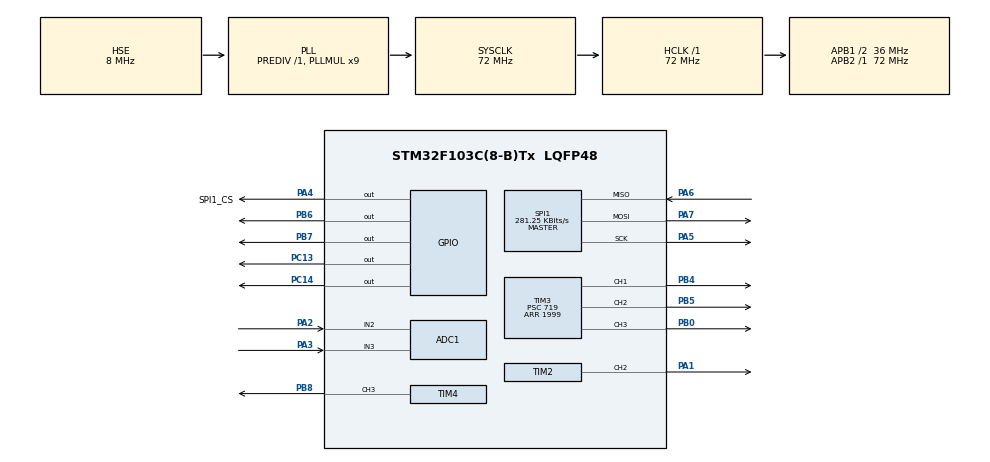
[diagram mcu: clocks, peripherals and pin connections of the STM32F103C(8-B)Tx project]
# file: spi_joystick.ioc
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ADC1.Channel-3\#ChannelRegularConversion=ADC_CHANNEL_2
ADC1.Channel-4\#ChannelRegularConversion=ADC_CHANNEL_3
ADC1.ContinuousConvMode=ENABLE
ADC1.NbrOfConversion=2
ADC1.NbrOfConversionFlag=1
ADC1.Rank-3\#ChannelRegularConversion=1
ADC1.Rank-4\#ChannelRegularConversion=2
ADC1.SamplingTime-3\#ChannelRegularConversion=ADC_SAMPLETIME_239CYCLES_5
ADC1.SamplingTime-4\#ChannelRegularConversion=ADC_SAMPLETIME_239CYCLES_5
ADC1.master=1
Dma.ADC1.2.Direction=DMA_PERIPH_TO_MEMORY
Dma.ADC1.2.Instance=DMA1_Channel1
Dma.ADC1.2.MemDataAlignment=DMA_MDATAALIGN_HALFWORD
Dma.ADC1.2.MemInc=DMA_MINC_ENABLE
Dma.ADC1.2.Mode=DMA_CIRCULAR
Dma.ADC1.2.PeriphDataAlignment=DMA_PDATAALIGN_HALFWORD
Dma.ADC1.2.PeriphInc=DMA_PINC_DISABLE
Dma.ADC1.2.Priority=DMA_PRIORITY_LOW
Dma.Request0=SPI1_RX
Dma.Request1=SPI1_TX
Dma.Request2=ADC1
Dma.SPI1_RX.0.Direction=DMA_PERIPH_TO_MEMORY
Dma.SPI1_RX.0.Instance=DMA1_Channel2
Dma.SPI1_RX.0.MemDataAlignment=DMA_MDATAALIGN_BYTE
Dma.SPI1_RX.0.MemInc=DMA_MINC_ENABLE
Dma.SPI1_RX.0.Mode=DMA_NORMAL
Dma.SPI1_RX.0.PeriphDataAlignment=DMA_PDATAALIGN_BYTE
Dma.SPI1_RX.0.PeriphInc=DMA_PINC_DISABLE
Dma.SPI1_RX.0.Priority=DMA_PRIORITY_LOW
Dma.SPI1_TX.1.Direction=DMA_MEMORY_TO_PERIPH
Dma.SPI1_TX.1.Instance=DMA1_Channel3
Dma.SPI1_TX.1.MemDataAlignment=DMA_MDATAALIGN_BYTE
Dma.SPI1_TX.1.MemInc=DMA_MINC_ENABLE
Dma.SPI1_TX.1.Mode=DMA_NORMAL
Dma.SPI1_TX.1.PeriphDataAlignment=DMA_PDATAALIGN_BYTE
Dma.SPI1_TX.1.PeriphInc=DMA_PINC_DISABLE
Dma.SPI1_TX.1.Priority=DMA_PRIORITY_LOW
FREERTOS.Queues01=myQueue01,16,uint16_t,0,Dynamic,NULL,NULL;myQueue02,16,uint16_t,0,Dynamic,NULL,NULL
FREERTOS.Tasks01=defaultTask,24,256,StartDefaultTask,Default,NULL,Dynamic,NULL,NULL;myTask02,8,128,StartTask02,Default,NULL,Dynamic,NULL,NULL;myTask03,8,128,StartTask03,Default,NULL,Dynamic,NULL,NULL
FREERTOS.Timers01=myTimer01,Callback01,osTimerPeriodic,Default,NULL,Dynamic,NULL
FREERTOS.configTOTAL_HEAP_SIZE=13600
Mcu.Family=STM32F1
Mcu.Name=STM32F103C(8-B)Tx
Mcu.Package=LQFP48
NVIC.DMA1_Channel1_IRQn=true\:0\:0\:false\:false\:true\:true\:false\:true
NVIC.DMA1_Channel2_IRQn=true\:5\:0\:false\:false\:true\:true\:false\:true
NVIC.DMA1_Channel3_IRQn=true\:5\:0\:false\:false\:true\:true\:false\:true
NVIC.PriorityGroup=NVIC_PRIORITYGROUP_4
NVIC.SPI1_IRQn=true\:5\:0\:false\:false\:true\:false\:true\:true
NVIC.TIM1_UP_IRQn=true\:0\:0\:false\:false\:true\:false\:false\:true
NVIC.TimeBase=TIM1_UP_IRQn
NVIC.TimeBaseIP=TIM1
PA1.GPIO_ModeDefaultPP=GPIO_MODE_AF_OD
PA1.Signal=S_TIM2_CH2
PA13.Mode=Serial_Wire
PA13.Signal=SYS_JTMS-SWDIO
PA14.Mode=Serial_Wire
PA14.Signal=SYS_JTCK-SWCLK
PA2.Signal=ADCx_IN2
PA3.Signal=ADCx_IN3
PA4.GPIO_Label=SPI1_CS
PA4.Signal=GPIO_Output
PA5.Mode=Full_Duplex_Master
PA5.Signal=SPI1_SCK
PA6.Mode=Full_Duplex_Master
PA6.Signal=SPI1_MISO
PA7.Mode=Full_Duplex_Master
PA7.Signal=SPI1_MOSI
PB0.Signal=S_TIM3_CH3
PB4.Signal=S_TIM3_CH1
PB5.Signal=S_TIM3_CH2
PB6.Signal=GPIO_Output
PB7.Signal=GPIO_Output
PB8.GPIO_ModeDefaultPP=GPIO_MODE_AF_OD
PB8.Signal=S_TIM4_CH3
PC13-TAMPER-RTC.GPIO_ModeDefaultOutputPP=GPIO_MODE_OUTPUT_OD
PC13-TAMPER-RTC.Signal=GPIO_Output
PC14-OSC32_IN.GPIO_ModeDefaultOutputPP=GPIO_MODE_OUTPUT_OD
PC14-OSC32_IN.Signal=GPIO_Output
PD0-OSC_IN.Mode=HSE-External-Oscillator
PD0-OSC_IN.Signal=RCC_OSC_IN
PD1-OSC_OUT.Mode=HSE-External-Oscillator
PD1-OSC_OUT.Signal=RCC_OSC_OUT
ProjectManager.HeapSize=0x200
ProjectManager.StackSize=0x400
ProjectManager.TargetToolchain=MDK-ARM V5.27
RCC.ADCPresc=RCC_ADCPCLK2_DIV6
RCC.AHBFreq_Value=72000000
RCC.APB1CLKDivider=RCC_HCLK_DIV2
RCC.APB1Freq_Value=36000000
RCC.APB1TimFreq_Value=72000000
RCC.APB2Freq_Value=72000000
RCC.APB2TimFreq_Value=72000000
RCC.HCLKFreq_Value=72000000
RCC.PLLMUL=RCC_PLL_MUL9
RCC.PLLSourceVirtual=RCC_PLLSOURCE_HSE
RCC.SYSCLKFreq_VALUE=72000000
RCC.SYSCLKSource=RCC_SYSCLKSOURCE_PLLCLK
RCC.USBFreq_Value=72000000
SH.ADCx_IN2.0=ADC1_IN2,IN2
SH.ADCx_IN3.0=ADC1_IN3,IN3
SH.S_TIM2_CH2.0=TIM2_CH2,PWM Generation2 CH2
SH.S_TIM3_CH1.0=TIM3_CH1,PWM Generation1 CH1
SH.S_TIM3_CH2.0=TIM3_CH2,PWM Generation2 CH2
SH.S_TIM3_CH3.0=TIM3_CH3,PWM Generation3 CH3
SH.S_TIM4_CH3.0=TIM4_CH3,PWM Generation3 CH3
SPI1.BaudRatePrescaler=SPI_BAUDRATEPRESCALER_256
SPI1.CLKPhase=SPI_PHASE_2EDGE
SPI1.CLKPolarity=SPI_POLARITY_HIGH
SPI1.CalculateBaudRate=281.25 KBits/s
SPI1.Direction=SPI_DIRECTION_2LINES
SPI1.FirstBit=SPI_FIRSTBIT_LSB
SPI1.Mode=SPI_MODE_MASTER
SPI1.VirtualType=VM_MASTER
TIM2.Channel-PWM\ Generation2\ CH2=TIM_CHANNEL_2
TIM2.Period=999
TIM2.Prescaler=719
TIM2.Pulse-PWM\ Generation2\ CH2=50
TIM3.Channel-PWM\ Generation1\ CH1=TIM_CHANNEL_1
TIM3.Channel-PWM\ Generation2\ CH2=TIM_CHANNEL_2
TIM3.Channel-PWM\ Generation3\ CH3=TIM_CHANNEL_3
TIM3.Period=1999
TIM3.Prescaler=719
TIM3.Pulse-PWM\ Generation1\ CH1=50
TIM3.Pulse-PWM\ Generation2\ CH2=50
TIM3.Pulse-PWM\ Generation3\ CH3=50
TIM4.Channel-PWM\ Generation3\ CH3=TIM_CHANNEL_3
TIM4.Period=999
TIM4.Prescaler=719
TIM4.Pulse-PWM\ Generation3\ CH3=50
VP_FREERTOS_VS_CMSIS_V2.Mode=CMSIS_V2
VP_SYS_VS_tim1.Mode=TIM1
board=custom

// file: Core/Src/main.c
/* USER CODE BEGIN Header */
/**
  ******************************************************************************
  * @file           : main.c
  * @brief          : Main program body
  ******************************************************************************
  * @attention
  *
  * <h2><center>&copy; Copyright (c) 2020 STMicroelectronics.
  * All rights reserved.</center></h2>
  *
  * This software component is licensed by ST under Ultimate Liberty license
  * SLA0044, the "License"; You may not use this file except in compliance with
  * the License. You may obtain a copy of the License at:
  *                             www.st.com/SLA0044
  *
  ******************************************************************************
  */
/* USER CODE END Header */
#include "main.h"
#include "cmsis_os.h"

ADC_HandleTypeDef hadc1;
DMA_HandleTypeDef hdma_adc1;

SPI_HandleTypeDef hspi1;
DMA_HandleTypeDef hdma_spi1_rx;
DMA_HandleTypeDef hdma_spi1_tx;

TIM_HandleTypeDef htim2;
TIM_HandleTypeDef htim3;
TIM_HandleTypeDef htim4;

/* Definitions for defaultTask */
osThreadId_t defaultTaskHandle;
const osThreadAttr_t defaultTask_attributes = {
  .name = "defaultTask",
  .priority = (osPriority_t) osPriorityNormal,
  .stack_size = 256 * 4
};
/* Definitions for myTask02 */
osThreadId_t myTask02Handle;
const osThreadAttr_t myTask02_attributes = {
  .name = "myTask02",
  .priority = (osPriority_t) osPriorityLow,
  .stack_size = 128 * 4
};
/* Definitions for myTask03 */
osThreadId_t myTask03Handle;
const osThreadAttr_t myTask03_attributes = {
  .name = "myTask03",
  .priority = (osPriority_t) osPriorityLow,
  .stack_size = 128 * 4
};
/* Definitions for myQueue01 */
osMessageQueueId_t myQueue01Handle;
const osMessageQueueAttr_t myQueue01_attributes = {
  .name = "myQueue01"
};
/* Definitions for myQueue02 */
osMessageQueueId_t myQueue02Handle;
const osMessageQueueAttr_t myQueue02_attributes = {
  .name = "myQueue02"
};
/* Definitions for myTimer01 */
osTimerId_t myTimer01Handle;
const osTimerAttr_t myTimer01_attributes = {
  .name = "myTimer01"
};
/* USER CODE BEGIN PV */
//_____________FLASH_START________________________
 uint32_t var_write_to_flash = 0;
 uint32_t var_read_from_flash = 0;
 uint32_t pageAdr = 0x0800FC00; // ADDR OF LAST PAGE
 uint32_t page_error = 0;
 uint32_t abc = 0;

//servos data
uint32_t S1 = 50;
uint32_t S2 = 50;
uint32_t S3 = 50;
uint8_t dS = 1;

/* USER CODE END PV */

void SystemClock_Config(void);
static void MX_GPIO_Init(void);
static void MX_DMA_Init(void);
static void MX_SPI1_Init(void);
static void MX_TIM2_Init(void);
static void MX_TIM3_Init(void);
static void MX_TIM4_Init(void);
static void MX_ADC1_Init(void);
void StartDefaultTask(void *argument);
void StartTask02(void *argument);
void StartTask03(void *argument);
void Callback01(void *argument);

/* USER CODE BEGIN PFP */

void joysticTransmition(int k, uint8_t* txBuf)
{
	uint8_t rxBuf[1];
	HAL_GPIO_WritePin(SPI1_CS_GPIO_Port, SPI1_CS_Pin, GPIO_PIN_RESET);
	for( int i = 0; i < k; i++)
	{
		HAL_SPI_TransmitReceive(&hspi1, txBuf+i, rxBuf, 1, 200);
		for (int i = 0; i<100;i++);
	}

	HAL_GPIO_WritePin(SPI1_CS_GPIO_Port, SPI1_CS_Pin, GPIO_PIN_SET);
}

void joysticTrRs(int k, uint8_t* txBuf, uint8_t* rxBuf)
{
	//uint8_t rxBuf[1];
	HAL_GPIO_WritePin(SPI1_CS_GPIO_Port, SPI1_CS_Pin, GPIO_PIN_RESET);
	for( int i = 0; i < k; i++)
	{
		HAL_SPI_TransmitReceive(&hspi1, txBuf+i, rxBuf+i, 1, 200);
		for (int i = 0; i<100;i++);
	}

	HAL_GPIO_WritePin(SPI1_CS_GPIO_Port, SPI1_CS_Pin, GPIO_PIN_SET);
}

#define FLASH_TYPEPROGRAMDATA_BYTE         (0x00U)  // ???????? 1 ????
#define FLASH_TYPEPROGRAMDATA_HALFWORD     (0x01U)  // ???????? 2 ?????
#define FLASH_TYPEPROGRAMDATA_WORD         (0x02U)  // ???????? 4 ?????
#define FLASH_TYPEPROGRAMDATA_FASTBYTE     (0x04U)  // ?????? ???????? 1 ????
#define FLASH_TYPEPROGRAMDATA_FASTHALFWORD (0x08U)  // ?????? ???????? 2 ?????
#define FLASH_TYPEPROGRAMDATA_FASTWORD     (0x10U)  // ?????? ???????? 4 ?????
#define FLASH_TYPEERASEDATA_BYTE         (0x00U)  // ??????? ????
#define FLASH_TYPEERASEDATA_HALFWORD     (0x01U)  // ??????? 2 ?????
#define FLASH_TYPEERASEDATA_WORD         (0x02U)  // ??????? 4 ?????

/* USER CODE END PFP */

int main(void)
{

  /* MCU Configuration--------------------------------------------------------*/

  /* Reset of all peripherals, Initializes the Flash interface and the Systick. */
  HAL_Init();

  /* Configure the system clock */
  SystemClock_Config();

  /* Initialize all configured peripherals */
  MX_GPIO_Init();
  MX_DMA_Init();
  MX_SPI1_Init();
  MX_TIM2_Init();
  MX_TIM3_Init();
  MX_TIM4_Init();
  MX_ADC1_Init();
  /* USER CODE BEGIN 2 */
  HAL_TIM_PWM_Start(&htim2,TIM_CHANNEL_1);

   // READ FROM FLASH
  var_read_from_flash = *(uint32_t*)(pageAdr);
		//S1 = *(uint32_t*)(pageAdr);
	S1 = var_read_from_flash & 0xFF;
 	S2 = (var_read_from_flash & 0xFF00) >> 8;
	S3 = (var_read_from_flash & 0xFF0000) >> 16;

  /* USER CODE END 2 */

  /* Init scheduler */
  osKernelInitialize();

  /* Create the timer(s) */
  /* creation of myTimer01 */
  myTimer01Handle = osTimerNew(Callback01, osTimerPeriodic, NULL, &myTimer01_attributes);

  /* Create the queue(s) */
  /* creation of myQueue01 */
  myQueue01Handle = osMessageQueueNew (16, sizeof(uint16_t), &myQueue01_attributes);

  /* creation of myQueue02 */
  myQueue02Handle = osMessageQueueNew (16, sizeof(uint16_t), &myQueue02_attributes);

  /* Create the thread(s) */
  /* creation of defaultTask */
  defaultTaskHandle = osThreadNew(StartDefaultTask, NULL, &defaultTask_attributes);

  /* creation of myTask02 */
  myTask02Handle = osThreadNew(StartTask02, NULL, &myTask02_attributes);

  /* creation of myTask03 */
  myTask03Handle = osThreadNew(StartTask03, NULL, &myTask03_attributes);

  /* Start scheduler */
  osKernelStart();

  /* We should never get here as control is now taken by the scheduler */
  /* Infinite loop */
  while (1)
  {

  }
}

void SystemClock_Config(void)
{
  RCC_OscInitTypeDef RCC_OscInitStruct = {0};
  RCC_ClkInitTypeDef RCC_ClkInitStruct = {0};
  RCC_PeriphCLKInitTypeDef PeriphClkInit = {0};

  /** Initializes the RCC Oscillators according to the specified parameters
  * in the RCC_OscInitTypeDef structure.
  */
  RCC_OscInitStruct.OscillatorType = RCC_OSCILLATORTYPE_HSE;
  RCC_OscInitStruct.HSEState = RCC_HSE_ON;
  RCC_OscInitStruct.HSEPredivValue = RCC_HSE_PREDIV_DIV1;
  RCC_OscInitStruct.HSIState = RCC_HSI_ON;
  RCC_OscInitStruct.PLL.PLLState = RCC_PLL_ON;
  RCC_OscInitStruct.PLL.PLLSource = RCC_PLLSOURCE_HSE;
  RCC_OscInitStruct.PLL.PLLMUL = RCC_PLL_MUL9;
  if (HAL_RCC_OscConfig(&RCC_OscInitStruct) != HAL_OK)
  {
    Error_Handler();
  }
  /** Initializes the CPU, AHB and APB buses clocks
  */
  RCC_ClkInitStruct.ClockType = RCC_CLOCKTYPE_HCLK|RCC_CLOCKTYPE_SYSCLK
                              |RCC_CLOCKTYPE_PCLK1|RCC_CLOCKTYPE_PCLK2;
  RCC_ClkInitStruct.SYSCLKSource = RCC_SYSCLKSOURCE_PLLCLK;
  RCC_ClkInitStruct.AHBCLKDivider = RCC_SYSCLK_DIV1;
  RCC_ClkInitStruct.APB1CLKDivider = RCC_HCLK_DIV2;
  RCC_ClkInitStruct.APB2CLKDivider = RCC_HCLK_DIV1;

  if (HAL_RCC_ClockConfig(&RCC_ClkInitStruct, FLASH_LATENCY_2) != HAL_OK)
  {
    Error_Handler();
  }
  PeriphClkInit.PeriphClockSelection = RCC_PERIPHCLK_ADC;
  PeriphClkInit.AdcClockSelection = RCC_ADCPCLK2_DIV6;
  if (HAL_RCCEx_PeriphCLKConfig(&PeriphClkInit) != HAL_OK)
  {
    Error_Handler();
  }
}

static void MX_ADC1_Init(void)
{

  ADC_ChannelConfTypeDef sConfig = {0};

  /** Common config
  */
  hadc1.Instance = ADC1;
  hadc1.Init.ScanConvMode = ADC_SCAN_ENABLE;
  hadc1.Init.ContinuousConvMode = ENABLE;
  hadc1.Init.DiscontinuousConvMode = DISABLE;
  hadc1.Init.ExternalTrigConv = ADC_SOFTWARE_START;
  hadc1.Init.DataAlign = ADC_DATAALIGN_RIGHT;
  hadc1.Init.NbrOfConversion = 2;
  if (HAL_ADC_Init(&hadc1) != HAL_OK)
  {
    Error_Handler();
  }
  /** Configure Regular Channel
  */
  sConfig.Channel = ADC_CHANNEL_2;
  sConfig.Rank = ADC_REGULAR_RANK_1;
  sConfig.SamplingTime = ADC_SAMPLETIME_239CYCLES_5;
  if (HAL_ADC_ConfigChannel(&hadc1, &sConfig) != HAL_OK)
  {
    Error_Handler();
  }
  /** Configure Regular Channel
  */
  sConfig.Channel = ADC_CHANNEL_3;
  sConfig.Rank = ADC_REGULAR_RANK_2;
  if (HAL_ADC_ConfigChannel(&hadc1, &sConfig) != HAL_OK)
  {
    Error_Handler();
  }

}

static void MX_SPI1_Init(void)
{

  /* SPI1 parameter configuration*/
  hspi1.Instance = SPI1;
  hspi1.Init.Mode = SPI_MODE_MASTER;
  hspi1.Init.Direction = SPI_DIRECTION_2LINES;
  hspi1.Init.DataSize = SPI_DATASIZE_8BIT;
  hspi1.Init.CLKPolarity = SPI_POLARITY_HIGH;
  hspi1.Init.CLKPhase = SPI_PHASE_2EDGE;
  hspi1.Init.NSS = SPI_NSS_SOFT;
  hspi1.Init.BaudRatePrescaler = SPI_BAUDRATEPRESCALER_256;
  hspi1.Init.FirstBit = SPI_FIRSTBIT_LSB;
  hspi1.Init.TIMode = SPI_TIMODE_DISABLE;
  hspi1.Init.CRCCalculation = SPI_CRCCALCULATION_DISABLE;
  hspi1.Init.CRCPolynomial = 10;
  if (HAL_SPI_Init(&hspi1) != HAL_OK)
  {
    Error_Handler();
  }

}

static void MX_TIM2_Init(void)
{

  TIM_MasterConfigTypeDef sMasterConfig = {0};
  TIM_OC_InitTypeDef sConfigOC = {0};

  htim2.Instance = TIM2;
  htim2.Init.Prescaler = 719;
  htim2.Init.CounterMode = TIM_COUNTERMODE_UP;
  htim2.Init.Period = 999;
  htim2.Init.ClockDivision = TIM_CLOCKDIVISION_DIV1;
  htim2.Init.AutoReloadPreload = TIM_AUTORELOAD_PRELOAD_DISABLE;
  if (HAL_TIM_PWM_Init(&htim2) != HAL_OK)
  {
    Error_Handler();
  }
  sMasterConfig.MasterOutputTrigger = TIM_TRGO_RESET;
  sMasterConfig.MasterSlaveMode = TIM_MASTERSLAVEMODE_DISABLE;
  if (HAL_TIMEx_MasterConfigSynchronization(&htim2, &sMasterConfig) != HAL_OK)
  {
    Error_Handler();
  }
  sConfigOC.OCMode = TIM_OCMODE_PWM1;
  sConfigOC.Pulse = 50;
  sConfigOC.OCPolarity = TIM_OCPOLARITY_HIGH;
  sConfigOC.OCFastMode = TIM_OCFAST_DISABLE;
  if (HAL_TIM_PWM_ConfigChannel(&htim2, &sConfigOC, TIM_CHANNEL_2) != HAL_OK)
  {
    Error_Handler();
  }
  HAL_TIM_MspPostInit(&htim2);

}

static void MX_TIM3_Init(void)
{

  TIM_MasterConfigTypeDef sMasterConfig = {0};
  TIM_OC_InitTypeDef sConfigOC = {0};

  htim3.Instance = TIM3;
  htim3.Init.Prescaler = 719;
  htim3.Init.CounterMode = TIM_COUNTERMODE_UP;
  htim3.Init.Period = 1999;
  htim3.Init.ClockDivision = TIM_CLOCKDIVISION_DIV1;
  htim3.Init.AutoReloadPreload = TIM_AUTORELOAD_PRELOAD_DISABLE;
  if (HAL_TIM_PWM_Init(&htim3) != HAL_OK)
  {
    Error_Handler();
  }
  sMasterConfig.MasterOutputTrigger = TIM_TRGO_RESET;
  sMasterConfig.MasterSlaveMode = TIM_MASTERSLAVEMODE_DISABLE;
  if (HAL_TIMEx_MasterConfigSynchronization(&htim3, &sMasterConfig) != HAL_OK)
  {
    Error_Handler();
  }
  sConfigOC.OCMode = TIM_OCMODE_PWM1;
  sConfigOC.Pulse = 50;
  sConfigOC.OCPolarity = TIM_OCPOLARITY_HIGH;
  sConfigOC.OCFastMode = TIM_OCFAST_DISABLE;
  if (HAL_TIM_PWM_ConfigChannel(&htim3, &sConfigOC, TIM_CHANNEL_1) != HAL_OK)
  {
    Error_Handler();
  }
  if (HAL_TIM_PWM_ConfigChannel(&htim3, &sConfigOC, TIM_CHANNEL_2) != HAL_OK)
  {
    Error_Handler();
  }
  if (HAL_TIM_PWM_ConfigChannel(&htim3, &sConfigOC, TIM_CHANNEL_3) != HAL_OK)
  {
    Error_Handler();
  }
  HAL_TIM_MspPostInit(&htim3);

}

static void MX_TIM4_Init(void)
{

  TIM_MasterConfigTypeDef sMasterConfig = {0};
  TIM_OC_InitTypeDef sConfigOC = {0};

  htim4.Instance = TIM4;
  htim4.Init.Prescaler = 719;
  htim4.Init.CounterMode = TIM_COUNTERMODE_UP;
  htim4.Init.Period = 999;
  htim4.Init.ClockDivision = TIM_CLOCKDIVISION_DIV1;
  htim4.Init.AutoReloadPreload = TIM_AUTORELOAD_PRELOAD_DISABLE;
  if (HAL_TIM_PWM_Init(&htim4) != HAL_OK)
  {
    Error_Handler();
  }
  sMasterConfig.MasterOutputTrigger = TIM_TRGO_RESET;
  sMasterConfig.MasterSlaveMode = TIM_MASTERSLAVEMODE_DISABLE;
  if (HAL_TIMEx_MasterConfigSynchronization(&htim4, &sMasterConfig) != HAL_OK)
  {
    Error_Handler();
  }
  sConfigOC.OCMode = TIM_OCMODE_PWM1;
  sConfigOC.Pulse = 50;
  sConfigOC.OCPolarity = TIM_OCPOLARITY_HIGH;
  sConfigOC.OCFastMode = TIM_OCFAST_DISABLE;
  if (HAL_TIM_PWM_ConfigChannel(&htim4, &sConfigOC, TIM_CHANNEL_3) != HAL_OK)
  {
    Error_Handler();
  }
  HAL_TIM_MspPostInit(&htim4);

}

static void MX_DMA_Init(void)
{

  /* DMA controller clock enable */
  __HAL_RCC_DMA1_CLK_ENABLE();

  /* DMA interrupt init */
  /* DMA1_Channel1_IRQn interrupt configuration */
  HAL_NVIC_SetPriority(DMA1_Channel1_IRQn, 0, 0);
  HAL_NVIC_EnableIRQ(DMA1_Channel1_IRQn);
  /* DMA1_Channel2_IRQn interrupt configuration */
  HAL_NVIC_SetPriority(DMA1_Channel2_IRQn, 5, 0);
  HAL_NVIC_EnableIRQ(DMA1_Channel2_IRQn);
  /* DMA1_Channel3_IRQn interrupt configuration */
  HAL_NVIC_SetPriority(DMA1_Channel3_IRQn, 5, 0);
  HAL_NVIC_EnableIRQ(DMA1_Channel3_IRQn);

}

static void MX_GPIO_Init(void)
{
  GPIO_InitTypeDef GPIO_InitStruct = {0};

  /* GPIO Ports Clock Enable */
  __HAL_RCC_GPIOC_CLK_ENABLE();
  __HAL_RCC_GPIOD_CLK_ENABLE();
  __HAL_RCC_GPIOA_CLK_ENABLE();
  __HAL_RCC_GPIOB_CLK_ENABLE();

  /*Configure GPIO pin Output Level */
  HAL_GPIO_WritePin(GPIOC, GPIO_PIN_13|GPIO_PIN_14, GPIO_PIN_RESET);

  /*Configure GPIO pin Output Level */
  HAL_GPIO_WritePin(SPI1_CS_GPIO_Port, SPI1_CS_Pin, GPIO_PIN_RESET);

  /*Configure GPIO pin Output Level */
  HAL_GPIO_WritePin(GPIOB, GPIO_PIN_6|GPIO_PIN_7, GPIO_PIN_RESET);

  /*Configure GPIO pins : PC13 PC14 */
  GPIO_InitStruct.Pin = GPIO_PIN_13|GPIO_PIN_14;
  GPIO_InitStruct.Mode = GPIO_MODE_OUTPUT_OD;
  GPIO_InitStruct.Pull = GPIO_NOPULL;
  GPIO_InitStruct.Speed = GPIO_SPEED_FREQ_LOW;
  HAL_GPIO_Init(GPIOC, &GPIO_InitStruct);

  /*Configure GPIO pin : SPI1_CS_Pin */
  GPIO_InitStruct.Pin = SPI1_CS_Pin;
  GPIO_InitStruct.Mode = GPIO_MODE_OUTPUT_PP;
  GPIO_InitStruct.Pull = GPIO_NOPULL;
  GPIO_InitStruct.Speed = GPIO_SPEED_FREQ_LOW;
  HAL_GPIO_Init(SPI1_CS_GPIO_Port, &GPIO_InitStruct);

  /*Configure GPIO pins : PB6 PB7 */
  GPIO_InitStruct.Pin = GPIO_PIN_6|GPIO_PIN_7;
  GPIO_InitStruct.Mode = GPIO_MODE_OUTPUT_PP;
  GPIO_InitStruct.Pull = GPIO_NOPULL;
  GPIO_InitStruct.Speed = GPIO_SPEED_FREQ_LOW;
  HAL_GPIO_Init(GPIOB, &GPIO_InitStruct);

}

/* USER CODE BEGIN 4 */

////encoders filter data
uint16_t adc_val_f[2] = {0,0};
unsigned int LPIN0, LPIN1;
unsigned long LPACC0, LPACC1;
const int K = 70;

///////////////////////////////////////////////////////////////
////encoders data
uint16_t adc_val[2] = {0,0};

uint16_t adc_val_max0 = 3900;
uint16_t adc_val_min0 = 2600;//2480;

uint16_t adc_val_max1 = 3000;
uint16_t adc_val_min1 = 2000;

//motors & servo config
uint16_t M0Speed = 1000;
uint16_t M1Speed = 1000;
uint16_t M0MaxSpeed = 2000;
uint16_t M1MaxSpeed = 2000;
uint16_t M0MinSpeed = 500;
uint16_t M1MinSpeed = 500;

uint16_t M0StartPos = 3380;
uint16_t M1StartPos = 2700;
///////////////////////////////////////////////////////////////

/////////////////////////////////////////////////////hrgio;erhgioehrgioe

///////////////////////////////////ertgrtgrthrthrthrthr
	uint8_t txAnalogBuf[21] = {0x01, 0x42, 0x00, 0x00, 0x00,
													 0x00, 0x00, 0x00, 0x00, 0x00, 0x00, 0x00, 0x00, 0x00,
													 0x00, 0x00, 0x00, 0x00, 0x00, 0x00, 0x00};

uint8_t txVibroBuf[21] = {0x01, 0x42, 0x00, 0xFF, 0xFF,
													0x00, 0x00, 0x00, 0x00, 0x00, 0x00, 0x00, 0x00, 0x00,
													0x00, 0x00, 0x00, 0x00, 0x00, 0x00, 0x00};

////////////////////////////////////hrthrthrthrthrthrthrt

unsigned short int timer = 0;
unsigned short int prev_timer = 0;

/* USER CODE END 4 */

void StartDefaultTask(void *argument)
{
  /* USER CODE BEGIN 5 */
  /* USER CODE BEGIN StartDefaultTask */
	/* USER CODE BEGIN StartDefaultTask */

	HAL_ADC_Start_DMA(&hadc1, (uint32_t*)adc_val, 2);

	////Servo start pos
	HAL_TIM_PWM_Start(&htim3, TIM_CHANNEL_1); // Servo_1 Timer Start
	TIM3->CCR1 = S1;
	HAL_TIM_PWM_Start(&htim3, TIM_CHANNEL_2); // Servo_2 Timer Start
	TIM3->CCR2 = S2;
	HAL_TIM_PWM_Start(&htim3, TIM_CHANNEL_3); // Servo_3 Timer Start
	TIM3->CCR3 = S3;

  uint8_t t = 0;

//	uint8_t tx3Buf[41]={0x01, 0x43, 0x00, 0x01, 0x00,
//										  0x01, 0x44, 0x00, 0x01, 0x03, 0x00, 0x00, 0x00, 0x00,
//										  0x01, 0x4D, 0x00, 0x00, 0x01, 0xFF, 0xFF, 0xFF, 0xFF,
//										  0x01, 0x4F, 0x00, 0xFF, 0xFF, 0x03, 0x00, 0x00, 0x00,
//										  0x01, 0x43, 0x00, 0x00, 0x5A, 0x5A, 0x5A, 0x5A, 0x5A};

///////////////////////////////////////////////////////
///	configuration into analog mode
	uint8_t tx4Buf[5] = {0x01, 0x43, 0x00, 0x01, 0x00};	// FF 41 5A FF FF
	uint8_t tx5Buf[9] = {0x01, 0x44, 0x00, 0x01, 0x03, 0x00, 0x00, 0x00, 0x00};	//FF	F3	5A	00	00	00	00	00	00
	uint8_t tx6Buf[9] = {0x01, 0x4D, 0x00, 0x00, 0x01, 0xFF, 0xFF, 0xFF, 0xFF}; //FF	F3	5A	00	01	FF	FF	FF	FF
	uint8_t tx7Buf[9] = {0x01, 0x4F, 0x00, 0xFF, 0xFF, 0x03, 0x00, 0x00, 0x00};	//FF	F3	5A	00	00	00	00	00	5A
	uint8_t tx8Buf[9] = {0x01, 0x43, 0x00, 0x00, 0x5A, 0x5A, 0x5A, 0x5A, 0x5A};	//FF	F3	5A	00	00	00	00	00	00

///////////////////////////////////////////////////////
	uint8_t bufSize = 21;

	uint8_t rxBuf[21];
	uint8_t txBuf[5] = {0x01, 0x42, 0x00, 0xFF, 0xFF};

////Motor speed
	TIM2->ARR = M0Speed;
	TIM4->ARR = M1Speed;

  /* Infinite loop */
///	configuration into analog mode
	joysticTransmition( 5, tx4Buf);
	osDelay(20);
	joysticTransmition( 9, tx5Buf);
	osDelay(20);
	joysticTransmition( 9, tx6Buf);
	osDelay(20);
	joysticTransmition( 9, tx7Buf);
	osDelay(20);
	joysticTransmition( 9, tx8Buf);
	osDelay(20);
	float rotate_time = 10;

  for(;;)
  {
		///config into analog mode
		joysticTrRs( 21, txAnalogBuf, rxBuf);
		// START_MOOVING motors
		///////////////////////////////////////

		////x button
			if((rxBuf[4] & 0x40 ) == 0){
					if( (prev_timer > timer) || ( timer - prev_timer > 50))
					{
						if (dS < 9){
							dS = dS + 2;
						}
						else{dS = 1;}
						prev_timer = timer;
					}
				}
				else{

				}

//////////////////////////////////////////////////////////////////////////////
/////////////v2.2
			if((rxBuf[6] != 0x7F) && (rxBuf[6] != 0x80) && (rxBuf[6] <= 0xFF)){   //if stick is used
				//putting data into the queue
				osMessageQueuePut(myQueue01Handle, &rxBuf[6], 0, 50);
			}
			else{
				HAL_TIM_PWM_Stop(&htim4, TIM_CHANNEL_3);
			}
			if((rxBuf[5] != 0x80) && (rxBuf[5] <= 0xFF)){ //&& (rxBuf[7] <= 0xFF)){   //if stick is used
					//putting data into the queue
				osMessageQueuePut(myQueue02Handle, &rxBuf[5], 0, 50);
			}
			else{
					HAL_TIM_PWM_Stop(&htim2, TIM_CHANNEL_2);
			}
/////////////v3.0
		///////////////Servo1
		if(((rxBuf[3] & 0x80) == 0) || ((rxBuf[3] & 0x20) == 0)){
			if ((rxBuf[3] & 0x80) == 0){ // LEFT button
				S1 = S1 - dS;
			}
			else{ // RIGHT button
				S1 = S1 + dS;
			}
			if ( S1 > 250){S1 = 250;}
			if ( S1 < 49){S1 = 50;}
			TIM3->CCR1 = S1;
			osDelay(50);
		}
		else{
			// NO UP||DOWN buttons
		}

		///////////////Servo2
		if(((rxBuf[3] & 0x10) == 0) || ((rxBuf[3] & 0x40) == 0)){
			if ((rxBuf[3] & 0x10) == 0){ // DOWN button
				S2 = S2 - dS;
			}
			else{ // UP button
				S2 = S2 + dS;
			}
			if ( S2 > 250){S2 = 250;}
			if ( S2 < 49){S2 = 50;}
			TIM3->CCR2 = S2;
			osDelay(50);
		}
		else{
			// NO UP||DOWN buttons
		}

		///////////////Servo3
		if(((rxBuf[4] & 0x01) == 0) || ((rxBuf[4] & 0x02) == 0)){
			if ((rxBuf[4] & 0x01) == 0){ // L2 button
				S3 = S3 - dS;
			}
			else{ // R2 button
				S3 = S3 + dS;
			}
			if ( S3 > 250){S3 = 250;}
			if ( S3 < 49){S3 = 50;}
			TIM3->CCR3 = S3;
			osDelay(50);
		}
		else{
			// NO R2||L2 buttons
		}

/////////////////////////////////////////////////////////////////////////////
////START button
				/////////////v3.0 - addind into FLASH
			if((rxBuf[3] & 0x08) == 0){
				/*
				TIM2->ARR = M0Speed;
				TIM4->ARR = M1Speed;
				do{
					HAL_ADC_Start_DMA(&hadc1, (uint32_t*)adc_val, 2);
					////encode data filter
					LPIN1 = (double)(adc_val[1]);
					adc_val_f[1] = (int)( (unsigned long)LPACC1/K);
					LPACC1 = LPACC1 + LPIN1 - adc_val_f[1];

					if( adc_val_f[1] > M1StartPos){
						HAL_GPIO_WritePin(GPIOC, GPIO_PIN_13, GPIO_PIN_RESET);
					}
					else{
						HAL_GPIO_WritePin(GPIOC, GPIO_PIN_13, GPIO_PIN_SET);
					}
					HAL_TIM_PWM_Start(&htim4, TIM_CHANNEL_3);
					osDelay(10);
				}
				while( adc_val_f[1] != M1StartPos);
					HAL_TIM_PWM_Stop(&htim4, TIM_CHANNEL_3);
				do{
					HAL_ADC_Start_DMA(&hadc1, (uint32_t*)adc_val, 2);
					////encode data filter
					LPIN0 = (double)(adc_val[0]);
					adc_val_f[0] = (int)( (unsigned long)LPACC0/K);
					LPACC0 = LPACC0 + LPIN0 - adc_val_f[0];

					if( adc_val_f[0] > M0StartPos){
						HAL_GPIO_WritePin(GPIOC, GPIO_PIN_14, GPIO_PIN_RESET);
					}
					else{
						HAL_GPIO_WritePin(GPIOC, GPIO_PIN_14, GPIO_PIN_SET);
					}
					HAL_TIM_PWM_Start(&htim2, TIM_CHANNEL_2);
					osDelay(10);
				}
				while( adc_val_f[0] != M0StartPos);
					HAL_TIM_PWM_Stop(&htim2, TIM_CHANNEL_2);
					*/
					uint32_t STim2 = S2 << 8;
					uint32_t STim3 = S3 << 16;
					var_write_to_flash = S1 + STim2 + STim3;

					//Unlock flash
				 HAL_FLASH_Unlock();
				 __HAL_FLASH_CLEAR_FLAG(FLASH_FLAG_EOP | FLASH_FLAG_WRPERR | FLASH_FLAG_PGERR);

				 HAL_StatusTypeDef flashstatus;
				 FLASH_EraseInitTypeDef s_eraseinit;
				 /* Fill EraseInit structure*/
				 s_eraseinit.TypeErase = FLASH_TYPEERASE_PAGES;
				 s_eraseinit.NbPages = 1;
				 s_eraseinit.PageAddress = pageAdr;

				 // Erase flash
				 flashstatus = HAL_FLASHEx_Erase(&s_eraseinit, &page_error);
				 // Program flash
				 if (HAL_FLASH_Program(FLASH_TYPEPROGRAM_DOUBLEWORD, s_eraseinit.PageAddress, var_write_to_flash) == HAL_OK)
				 {
					abc = 1;
				 }
				 //Lock flash
				 HAL_FLASH_Lock();

			}

/////////////////////////////////////////////////////////////////////////////
		///	configuration into analog mode every x seconds
		timer++;
		if(timer >= 300)
		{
			///	configuration into analog mode
			joysticTransmition( 5, tx4Buf);
			joysticTransmition( 9, tx5Buf);
			joysticTransmition( 9, tx6Buf);
			joysticTransmition( 9, tx7Buf);
			joysticTransmition( 9, tx8Buf);
			timer = 0;
		}
		////encode data filter
		LPIN0 = (double)(adc_val[0]);
		LPIN1 = (double)(adc_val[1]);
		adc_val_f[0] = (int)( (unsigned long)LPACC0/K);
		adc_val_f[1] = (int)( (unsigned long)LPACC1/K);
		LPACC0 = LPACC0 + LPIN0 - adc_val_f[0];
		LPACC1 = LPACC1 + LPIN1 - adc_val_f[1];

    osDelay(10);
  }
  /* USER CODE END 5 */
}

void StartTask02(void *argument)
{
  /* USER CODE BEGIN StartTask02 */
	uint8_t data[5] = {0, 0, 0, 0, 0};
	uint8_t txAnalogBuf[21] = {0x01, 0x42, 0x00, 0x00, 0x00,
													 0x00, 0x00, 0x00, 0x00, 0x00, 0x00, 0x00, 0x00, 0x00,
													 0x00, 0x00, 0x00, 0x00, 0x00, 0x00, 0x00};

uint8_t txVibroBuf[21] = {0x01, 0x42, 0x00, 0xFF, 0xFF,
													0x00, 0x00, 0x00, 0x00, 0x00, 0x00, 0x00, 0x00, 0x00,
													0x00, 0x00, 0x00, 0x00, 0x00, 0x00, 0x00};

//	uint8_t txBuf[5] = {0x01, 0x42, 0x00, 0xFF, 0xFF};

  /* Infinite loop */
	osStatus_t status;
  for(;;)
	{
		status = osMessageQueueGet(myQueue01Handle, data, 0, 100);
		//osMessageQueue
		if (status == osOK) {
				if(data[0] < 0x7F){ //if stick up
					if(adc_val_f[1] > adc_val_min1){
						//TIM4->ARR = map( data[0], M1MinSpeed, M1MaxSpeed);
						TIM4->ARR = (data[0] - 0x00) * (M1MaxSpeed - M1MinSpeed) / (0x7F - 0x00) + M1MinSpeed;
						HAL_TIM_PWM_Start(&htim4, TIM_CHANNEL_3);
						HAL_GPIO_WritePin(GPIOC, GPIO_PIN_13, GPIO_PIN_RESET);
					}
					else{
						//vibration
						joysticTransmition( 21, txAnalogBuf);
						joysticTransmition( 21, txVibroBuf);
						joysticTransmition( 21, txVibroBuf);
						HAL_TIM_PWM_Stop(&htim4, TIM_CHANNEL_3);
					}
				}
				else{//if stick down
				// ex-X button
					if(adc_val_f[1] < adc_val_max1){
						//TIM4->ARR = map( data[0], M1MinSpeed, M1MaxSpeed);
						TIM4->ARR = M1MaxSpeed - ((data[0] - 0x7F) * (M1MaxSpeed - M1MinSpeed) / (0xFF - 0x7F) + M1MinSpeed) + M1MinSpeed;
						HAL_TIM_PWM_Start(&htim4, TIM_CHANNEL_3);
						HAL_GPIO_WritePin(GPIOC, GPIO_PIN_13, GPIO_PIN_SET);
					}
					else{
						//vibration
						joysticTransmition( 21, txAnalogBuf);
						joysticTransmition( 21, txVibroBuf);
						joysticTransmition( 21, txVibroBuf);
						HAL_TIM_PWM_Stop(&htim4, TIM_CHANNEL_3);
					}
			}
		}
  }
  /* USER CODE END StartTask02 */
}

void StartTask03(void *argument)
{
  /* USER CODE BEGIN StartTask03 */
  /* Infinite loop */

	  /* USER CODE BEGIN StartTask02 */
	uint8_t data[5] = {0, 0, 0, 0, 0};

  /* Infinite loop */
	osStatus_t status;

  for(;;)
  {

		status = osMessageQueueGet(myQueue02Handle, data, 0, 100);
		//osMessageQueue
		if (status == osOK) {

				if(data[0] > 0x80){ //if stick is on right
				if(adc_val_f[0] > adc_val_min0){
					TIM2->ARR = M0MaxSpeed - ((data[0] - 0x80) * (M0MaxSpeed - M0MinSpeed) / (0xFF - 0x80) + M0MinSpeed) + M0MinSpeed;
					HAL_TIM_PWM_Start(&htim2, TIM_CHANNEL_2);
					HAL_GPIO_WritePin(GPIOC, GPIO_PIN_14, GPIO_PIN_RESET);
				}
				else{
					//vibration
					joysticTransmition( 21, txAnalogBuf);
					joysticTransmition( 21, txVibroBuf);
					joysticTransmition( 21, txVibroBuf);
					HAL_TIM_PWM_Stop(&htim2, TIM_CHANNEL_2);
				}
			}
			else{//if stick is on left
			// ex-X button
				if(adc_val_f[0] < adc_val_max0){
					TIM2->ARR = (data[0] - 0x00) * (M0MaxSpeed - M0MinSpeed) / (0x80 - 0x00) + M0MinSpeed;
					HAL_TIM_PWM_Start(&htim2, TIM_CHANNEL_2);
					HAL_GPIO_WritePin(GPIOC, GPIO_PIN_14, GPIO_PIN_SET);
				}
				else{
					//vibration
					joysticTransmition( 21, txAnalogBuf);
					joysticTransmition( 21, txVibroBuf);
					joysticTransmition( 21, txVibroBuf);
					HAL_TIM_PWM_Stop(&htim2, TIM_CHANNEL_2);
				}
			}

		}

  }
  /* USER CODE END StartTask03 */
}

/* Callback01 function */
void Callback01(void *argument)
{
}

void HAL_TIM_PeriodElapsedCallback(TIM_HandleTypeDef *htim)
{
  if (htim->Instance == TIM1) {
    HAL_IncTick();
  }
}

void Error_Handler(void)
{
}

/************************ (C) COPYRIGHT STMicroelectronics *****END OF FILE****/
